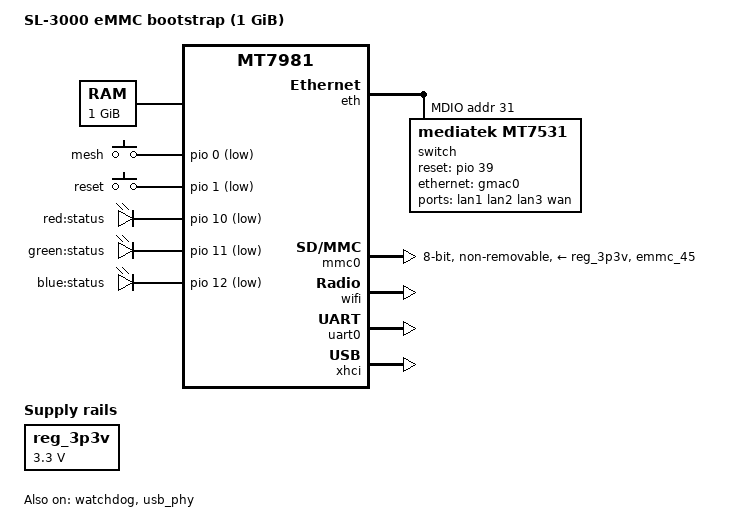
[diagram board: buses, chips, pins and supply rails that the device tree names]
// SPDX-License-Identifier: GPL-2.0-or-later OR MIT
// Based on Kwrt's SL-3000 bootstrap DTS, for the existing three-partition GPT.
/dts-v1/;
#include <dt-bindings/gpio/gpio.h>
#include <dt-bindings/input/input.h>
#include "mt7981b.dtsi"

/ {
	model = "SL-3000 eMMC bootstrap (1 GiB)";
	compatible = "sl,3000-emmc", "mediatek,mt7981";

	aliases {
		serial0 = &uart0;
		ethernet0 = &gmac0;
		led-boot = &status_red;
		led-failsafe = &status_red;
		led-running = &status_green;
		led-upgrade = &status_blue;
	};
	chosen {
		bootargs = "root=PARTLABEL=rootfs rootwait";
		stdout-path = "serial0:115200n8";
	};
	memory@40000000 {
		device_type = "memory";
		reg = <0 0x40000000 0 0x40000000>;
	};
	reg_3p3v: regulator-3p3v {
		compatible = "regulator-fixed";
		regulator-name = "3.3V";
		regulator-min-microvolt = <3300000>;
		regulator-max-microvolt = <3300000>;
		regulator-always-on;
	};
	gpio-keys {
		compatible = "gpio-keys";
		button-mesh {
			label = "mesh";
			linux,code = <BTN_9>;
			gpios = <&pio 0 GPIO_ACTIVE_LOW>;
		};
		button-reset {
			label = "reset";
			linux,code = <KEY_RESTART>;
			gpios = <&pio 1 GPIO_ACTIVE_LOW>;
		};
	};
	leds {
		compatible = "gpio-leds";
		status_red: led-0 {
			label = "red:status";
			gpios = <&pio 10 GPIO_ACTIVE_LOW>;
		};
		status_green: led-1 {
			label = "green:status";
			gpios = <&pio 11 GPIO_ACTIVE_LOW>;
		};
		status_blue: led-2 {
			label = "blue:status";
			gpios = <&pio 12 GPIO_ACTIVE_LOW>;
		};
	};
};

&eth {
	status = "okay";
	gmac0: mac@0 {
		compatible = "mediatek,eth-mac";
		reg = <0>;
		phy-mode = "2500base-x";
		fixed-link {
			speed = <2500>;
			full-duplex;
			pause;
		};
	};
	gmac1: mac@1 {
		compatible = "mediatek,eth-mac";
		reg = <1>;
		status = "disabled";
	};
	mdio: mdio-bus {
		#address-cells = <1>;
		#size-cells = <0>;
		switch@1f {
			compatible = "mediatek,mt7531";
			reg = <31>;
			reset-gpios = <&pio 39 GPIO_ACTIVE_HIGH>;
			ports {
				#address-cells = <1>;
				#size-cells = <0>;
				port@0 { reg = <0>; label = "lan1"; };
				port@1 { reg = <1>; label = "lan2"; };
				port@2 { reg = <2>; label = "lan3"; };
				port@3 { reg = <3>; label = "wan"; };
				port@6 {
					reg = <6>;
					ethernet = <&gmac0>;
					phy-mode = "2500base-x";
					fixed-link {
						speed = <2500>;
						full-duplex;
						pause;
					};
				};
			};
		};
	};
};

&mmc0 {
	bus-width = <8>;
	cap-mmc-highspeed;
	max-frequency = <52000000>;
	no-sd;
	no-sdio;
	non-removable;
	pinctrl-names = "default", "state_uhs";
	pinctrl-0 = <&mmc0_pins_default>;
	pinctrl-1 = <&mmc0_pins_uhs>;
	vmmc-supply = <&reg_3p3v>;
	status = "okay";
};

&pio {
	mmc0_pins_default: mmc0-pins-default {
		mux { function = "flash"; groups = "emmc_45"; };
	};
	mmc0_pins_uhs: mmc0-pins-uhs {
		mux { function = "flash"; groups = "emmc_45"; };
	};
};

// No phantom factory NVMEM: this bootstrap GPT has kernel/rootfs/storage only.
// mt76 reads efuse, then uses its packaged default EEPROM if invalid.
&wifi { status = "okay"; };
&uart0 { status = "okay"; };
&watchdog { status = "okay"; };
&usb_phy { status = "okay"; };
&xhci { status = "okay"; };
